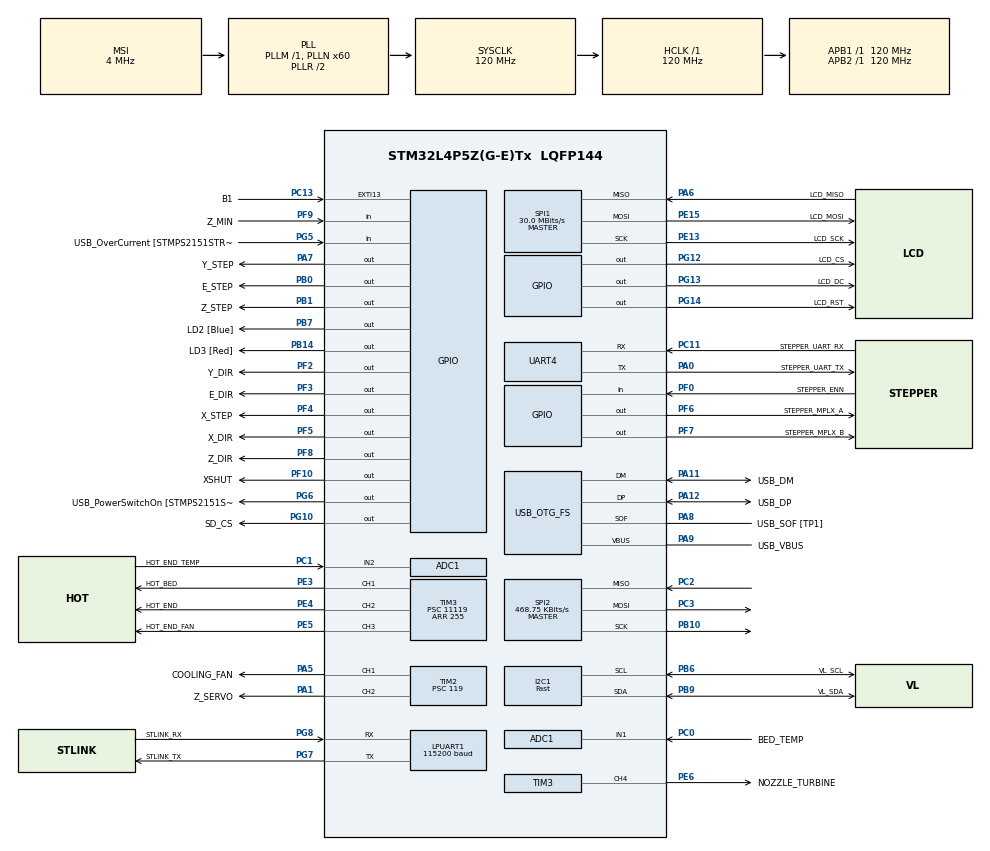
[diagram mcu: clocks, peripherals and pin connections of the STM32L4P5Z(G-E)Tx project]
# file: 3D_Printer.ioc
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ADC1.Channel-0\#ChannelRegularConversion=ADC_CHANNEL_1
ADC1.Channel-1\#ChannelRegularConversion=ADC_CHANNEL_2
ADC1.Channel-2\#ChannelRegularConversion=ADC_CHANNEL_TEMPSENSOR
ADC1.ContinuousConvMode=ENABLE
ADC1.DMAContinuousRequests=ENABLE
ADC1.NbrOfConversion=3
ADC1.NbrOfConversionFlag=1
ADC1.OffsetNumber-0\#ChannelRegularConversion=ADC_OFFSET_NONE
ADC1.OffsetNumber-1\#ChannelRegularConversion=ADC_OFFSET_NONE
ADC1.OffsetNumber-2\#ChannelRegularConversion=ADC_OFFSET_NONE
ADC1.OversamplingMode=ENABLE
ADC1.Rank-0\#ChannelRegularConversion=1
ADC1.Rank-1\#ChannelRegularConversion=2
ADC1.Rank-2\#ChannelRegularConversion=3
ADC1.Ratio=ADC_OVERSAMPLING_RATIO_16
ADC1.Resolution=ADC_RESOLUTION_12B
ADC1.SamplingTime-0\#ChannelRegularConversion=ADC_SAMPLETIME_640CYCLES_5
ADC1.SamplingTime-1\#ChannelRegularConversion=ADC_SAMPLETIME_640CYCLES_5
ADC1.SamplingTime-2\#ChannelRegularConversion=ADC_SAMPLETIME_640CYCLES_5
ADC1.master=1
Dma.ADC1.0.Direction=DMA_PERIPH_TO_MEMORY
Dma.ADC1.0.EventEnable=DISABLE
Dma.ADC1.0.Instance=DMA1_Channel1
Dma.ADC1.0.MemDataAlignment=DMA_MDATAALIGN_WORD
Dma.ADC1.0.MemInc=DMA_MINC_ENABLE
Dma.ADC1.0.Mode=DMA_CIRCULAR
Dma.ADC1.0.PeriphDataAlignment=DMA_PDATAALIGN_WORD
Dma.ADC1.0.PeriphInc=DMA_PINC_DISABLE
Dma.ADC1.0.Polarity=HAL_DMAMUX_REQ_GEN_RISING
Dma.ADC1.0.Priority=DMA_PRIORITY_LOW
Dma.ADC1.0.RequestNumber=1
Dma.ADC1.0.SignalID=NONE
Dma.ADC1.0.SyncEnable=DISABLE
Dma.ADC1.0.SyncPolarity=HAL_DMAMUX_SYNC_NO_EVENT
Dma.ADC1.0.SyncRequestNumber=1
Dma.ADC1.0.SyncSignalID=NONE
Dma.LPUART1_RX.1.Direction=DMA_PERIPH_TO_MEMORY
Dma.LPUART1_RX.1.EventEnable=DISABLE
Dma.LPUART1_RX.1.Instance=DMA1_Channel2
Dma.LPUART1_RX.1.MemDataAlignment=DMA_MDATAALIGN_BYTE
Dma.LPUART1_RX.1.MemInc=DMA_MINC_ENABLE
Dma.LPUART1_RX.1.Mode=DMA_NORMAL
Dma.LPUART1_RX.1.PeriphDataAlignment=DMA_PDATAALIGN_BYTE
Dma.LPUART1_RX.1.PeriphInc=DMA_PINC_DISABLE
Dma.LPUART1_RX.1.Polarity=HAL_DMAMUX_REQ_GEN_RISING
Dma.LPUART1_RX.1.Priority=DMA_PRIORITY_LOW
Dma.LPUART1_RX.1.RequestNumber=1
Dma.LPUART1_RX.1.SignalID=NONE
Dma.LPUART1_RX.1.SyncEnable=DISABLE
Dma.LPUART1_RX.1.SyncPolarity=HAL_DMAMUX_SYNC_NO_EVENT
Dma.LPUART1_RX.1.SyncRequestNumber=1
Dma.LPUART1_RX.1.SyncSignalID=NONE
Dma.Request0=ADC1
Dma.Request1=LPUART1_RX
I2C1.I2C_Speed_Mode=I2C_Fast
I2C1.Timing=0x00B03FDB
LPUART1.BaudRate=115200
LPUART1.OverrunDisableParam=UART_ADVFEATURE_OVERRUN_DISABLE
LPUART1.WordLength=UART_WORDLENGTH_8B
Mcu.Family=STM32L4
Mcu.Name=STM32L4P5Z(G-E)Tx
Mcu.Package=LQFP144
NVIC.DMA1_Channel1_IRQn=true\:0\:0\:false\:false\:true\:false\:true\:true
NVIC.DMA1_Channel2_IRQn=true\:0\:0\:false\:false\:true\:false\:true\:true
NVIC.LPUART1_IRQn=true\:0\:0\:false\:false\:true\:true\:true\:true
NVIC.PriorityGroup=NVIC_PRIORITYGROUP_4
PA0.GPIO_Label=STEPPER_UART_TX
PA0.Mode=Asynchronous
PA0.Signal=UART4_TX
PA1.GPIO_Label=Z_SERVO
PA1.Signal=S_TIM2_CH2
PA10.GPIO_Label=USB_ID
PA10.Signal=USB_OTG_FS_ID
PA11.GPIO_Label=USB_DM
PA11.Mode=Device_Only
PA11.Signal=USB_OTG_FS_DM
PA12.GPIO_Label=USB_DP
PA12.Mode=Device_Only
PA12.Signal=USB_OTG_FS_DP
PA13\ (JTMS/SWDIO).GPIO_Label=TMS
PA13\ (JTMS/SWDIO).Mode=Trace_Asynchronous_SW
PA13\ (JTMS/SWDIO).Signal=SYS_JTMS-SWDIO
PA14\ (JTCK/SWCLK).GPIO_Label=TCK
PA14\ (JTCK/SWCLK).Mode=Trace_Asynchronous_SW
PA14\ (JTCK/SWCLK).Signal=SYS_JTCK-SWCLK
PA5.GPIO_Label=COOLING_FAN
PA5.Signal=S_TIM2_CH1
PA6.GPIO_Label=LCD_MISO
PA6.Mode=Full_Duplex_Master
PA6.Signal=SPI1_MISO
PA7.GPIO_Label=Y_STEP
PA7.Signal=GPIO_Output
PA8.GPIO_Label=USB_SOF [TP1]
PA8.Mode=Activate_SOF_FS
PA8.Signal=USB_OTG_FS_SOF
PA9.GPIO_Label=USB_VBUS
PA9.Mode=Activate_VBUS
PA9.Signal=USB_OTG_FS_VBUS
PB0.GPIO_Label=E_STEP
PB0.Signal=GPIO_Output
PB1.GPIO_Label=Z_STEP
PB1.Signal=GPIO_Output
PB10.GPIO_Mode=GPIO_MODE_AF_PP
PB10.GPIO_PuPd=GPIO_NOPULL
PB10.GPIO_Speed=GPIO_SPEED_FREQ_VERY_HIGH
PB10.Mode=Full_Duplex_Master
PB10.Signal=SPI2_SCK
PB14.GPIO_Label=LD3 [Red]
PB14.Signal=GPIO_Output
PB3\ (JTDO/TRACESWO).GPIO_Label=SWO
PB3\ (JTDO/TRACESWO).Mode=Trace_Asynchronous_SW
PB3\ (JTDO/TRACESWO).Signal=SYS_JTDO-SWO
PB6.GPIO_Label=VL_SCL
PB6.Mode=I2C
PB6.Signal=I2C1_SCL
PB7.GPIO_Label=LD2 [Blue]
PB7.Signal=GPIO_Output
PB9.GPIO_Label=VL_SDA
PB9.Mode=I2C
PB9.Signal=I2C1_SDA
PC0.GPIO_Label=BED_TEMP
PC0.Signal=ADCx_IN1
PC1.GPIO_Label=HOT_END_TEMP
PC1.Signal=ADCx_IN2
PC11.GPIO_Label=STEPPER_UART_RX
PC11.Mode=Asynchronous
PC11.Signal=UART4_RX
PC13.GPIO_Label=B1
PC13.Signal=GPXTI13
PC14-OSC32_IN\ (PC14).Mode=LSE-External-Oscillator
PC14-OSC32_IN\ (PC14).Signal=RCC_OSC32_IN
PC15-OSC32_OUT\ (PC15).Mode=LSE-External-Oscillator
PC15-OSC32_OUT\ (PC15).Signal=RCC_OSC32_OUT
PC2.GPIO_Mode=GPIO_MODE_AF_PP
PC2.GPIO_PuPd=GPIO_NOPULL
PC2.GPIO_Speed=GPIO_SPEED_FREQ_VERY_HIGH
PC2.Mode=Full_Duplex_Master
PC2.Signal=SPI2_MISO
PC3.GPIO_Mode=GPIO_MODE_AF_PP
PC3.GPIO_PuPd=GPIO_NOPULL
PC3.GPIO_Speed=GPIO_SPEED_FREQ_VERY_HIGH
PC3.Mode=Full_Duplex_Master
PC3.Signal=SPI2_MOSI
PE13.GPIO_Label=LCD_SCK
PE13.Mode=Full_Duplex_Master
PE13.Signal=SPI1_SCK
PE15.GPIO_Label=LCD_MOSI
PE15.Mode=Full_Duplex_Master
PE15.Signal=SPI1_MOSI
PE3.GPIO_Label=HOT_BED
PE3.Signal=S_TIM3_CH1
PE4.GPIO_Label=HOT_END
PE4.Signal=S_TIM3_CH2
PE5.GPIO_Label=HOT_END_FAN
PE5.Signal=S_TIM3_CH3
PE6.GPIO_Label=NOZZLE_TURBINE
PE6.Signal=S_TIM3_CH4
PF0.GPIO_Label=STEPPER_ENN
PF0.Signal=GPIO_Input
PF10.GPIO_Label=XSHUT
PF10.Signal=GPIO_Output
PF2.GPIO_Label=Y_DIR
PF2.Signal=GPIO_Output
PF3.GPIO_Label=E_DIR
PF3.Signal=GPIO_Output
PF4.GPIO_Label=X_STEP
PF4.Signal=GPIO_Output
PF5.GPIO_Label=X_DIR
PF5.Signal=GPIO_Output
PF6.GPIO_Label=STEPPER_MPLX_A
PF6.Signal=GPIO_Output
PF7.GPIO_Label=STEPPER_MPLX_B
PF7.Signal=GPIO_Output
PF8.GPIO_Label=Z_DIR
PF8.Signal=GPIO_Output
PF9.GPIO_Label=Z_MIN
PF9.Signal=GPIO_Input
PG10.GPIO_Label=SD_CS
PG10.Signal=GPIO_Output
PG12.GPIO_Label=LCD_CS
PG12.GPIO_Speed=GPIO_SPEED_FREQ_VERY_HIGH
PG12.PinState=GPIO_PIN_RESET
PG12.Signal=GPIO_Output
PG13.GPIO_Label=LCD_DC
PG13.GPIO_Speed=GPIO_SPEED_FREQ_VERY_HIGH
PG13.Signal=GPIO_Output
PG14.GPIO_Label=LCD_RST
PG14.GPIO_Speed=GPIO_SPEED_FREQ_VERY_HIGH
PG14.Signal=GPIO_Output
PG5.GPIO_Label=USB_OverCurrent [STMPS2151STR_FAULT]
PG5.Signal=GPIO_Input
PG6.GPIO_Label=USB_PowerSwitchOn [STMPS2151STR_En]
PG6.Signal=GPIO_Output
PG7.GPIO_Label=STLINK_TX
PG7.Mode=Asynchronous
PG7.Signal=LPUART1_TX
PG8.GPIO_Label=STLINK_RX
PG8.Mode=Asynchronous
PG8.Signal=LPUART1_RX
PH0-OSC_IN\ (PH0).Mode=HSE-External-Oscillator
PH0-OSC_IN\ (PH0).Signal=RCC_OSC_IN
PH1-OSC_OUT\ (PH1).Mode=HSE-External-Oscillator
PH1-OSC_OUT\ (PH1).Signal=RCC_OSC_OUT
ProjectManager.HeapSize=0x200
ProjectManager.StackSize=0x400
ProjectManager.TargetToolchain=Makefile
RCC.48MHZClocksFreq_Value=24000000
RCC.ADCFreq_Value=48000000
RCC.AHBFreq_Value=120000000
RCC.APB1Freq_Value=120000000
RCC.APB1TimFreq_Value=120000000
RCC.APB2Freq_Value=120000000
RCC.APB2TimFreq_Value=120000000
RCC.CK48CLockSelection=RCC_USBCLKSOURCE_HSI48
RCC.CortexFreq_Value=120000000
RCC.HCLKFreq_Value=120000000
RCC.HSE_VALUE=6000000
RCC.HSI48_VALUE=48000000
RCC.HSI_VALUE=16000000
RCC.LtdcClockSelection=RCC_LTDCCLKSOURCE_PLLSAI2_DIV4
RCC.MSI_VALUE=4000000
RCC.PLLMUL=RCC_PLL_MUL9
RCC.PLLN=60
RCC.PLLSAI1N=24
RCC.PLLSAI1Q=RCC_PLLQ_DIV4
RCC.PLLSAI2N=16
RCC.PRESCALERUSB=RCC_USBCLKSOURCE_PLL_DIV1_5
RCC.SYSCLKFreq_VALUE=120000000
RCC.SYSCLKSource=RCC_SYSCLKSOURCE_PLLCLK
RCC.SYSCLKSourceVirtual=RCC_SYSCLKSOURCE_PLLCLK
RCC.USBFreq_Value=48000000
RCC.VCOOutputFreq_Value=240000000
SH.ADCx_IN1.0=ADC1_IN1,IN1-Single-Ended
SH.ADCx_IN2.0=ADC1_IN2,IN2-Single-Ended
SH.S_TIM2_CH1.0=TIM2_CH1,PWM Generation1 CH1
SH.S_TIM2_CH2.0=TIM2_CH2,PWM Generation2 CH2
SH.S_TIM3_CH1.0=TIM3_CH1,PWM Generation1 CH1
SH.S_TIM3_CH2.0=TIM3_CH2,PWM Generation2 CH2
SH.S_TIM3_CH3.0=TIM3_CH3,PWM Generation3 CH3
SH.S_TIM3_CH4.0=TIM3_CH4,PWM Generation4 CH4
SPI1.BaudRatePrescaler=SPI_BAUDRATEPRESCALER_4
SPI1.CRCCalculation=SPI_CRCCALCULATION_DISABLE
SPI1.CalculateBaudRate=30.0 MBits/s
SPI1.DataSize=SPI_DATASIZE_8BIT
SPI1.Direction=SPI_DIRECTION_2LINES
SPI1.Mode=SPI_MODE_MASTER
SPI1.VirtualType=VM_MASTER
SPI2.BaudRatePrescaler=SPI_BAUDRATEPRESCALER_256
SPI2.CalculateBaudRate=468.75 KBits/s
SPI2.DataSize=SPI_DATASIZE_8BIT
SPI2.Direction=SPI_DIRECTION_2LINES
SPI2.Mode=SPI_MODE_MASTER
SPI2.VirtualType=VM_MASTER
TIM2.Channel-PWM\ Generation1\ CH1=TIM_CHANNEL_1
TIM2.Channel-PWM\ Generation2\ CH2=TIM_CHANNEL_2
TIM2.Period=255
TIM2.Prescaler=119
TIM3.AutoReloadPreload=TIM_AUTORELOAD_PRELOAD_ENABLE
TIM3.Channel-PWM\ Generation1\ CH1=TIM_CHANNEL_1
TIM3.Channel-PWM\ Generation2\ CH2=TIM_CHANNEL_2
TIM3.Channel-PWM\ Generation3\ CH3=TIM_CHANNEL_3
TIM3.Channel-PWM\ Generation4\ CH4=TIM_CHANNEL_4
TIM3.Period=255
TIM3.Prescaler=11119
TIM4.Prescaler=119
TIM5.Prescaler=119
USB_OTG_FS.VirtualMode=Device_Only
VP_ADC1_TempSens_Input.Mode=IN-TempSens
VP_FATFS_VS_Generic.Mode=User_defined
VP_RNG_VS_RNG.Mode=RNG_Activate
VP_TIM2_VS_ClockSourceINT.Mode=Internal
VP_TIM3_VS_ClockSourceINT.Mode=Internal
VP_TIM4_VS_ClockSourceINT.Mode=Internal
VP_TIM5_VS_ClockSourceINT.Mode=Internal
board=NUCLEO-L4P5ZG

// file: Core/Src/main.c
/* USER CODE BEGIN Header */
/**
 ******************************************************************************
 * @file           : main.c
 * @brief          : Main program body
 ******************************************************************************
 * @attention
 *
 * Copyright (c) 2022 STMicroelectronics.
 * All rights reserved.
 *
 * This software is licensed under terms that can be found in the LICENSE file
 * in the root directory of this software component.
 * If no LICENSE file comes with this software, it is provided AS-IS.
 *
 ******************************************************************************
 */
/* USER CODE END Header */
#include "main.h"
#include "fatfs.h"

/* USER CODE BEGIN Includes */
#include "Functions.h"
#include <stdio.h>
#include <string.h>
#include <ctype.h>
#include "ILI9341_STM32_Driver.h"
#include "ILI9341_GFX.h"
#include "5x5_font.h"
#include "vl53l0x_api.h"
#include "fatfs.h"
#include <stdarg.h>
// #include "Parser.h"
/* USER CODE END Includes */

ADC_HandleTypeDef hadc1;
DMA_HandleTypeDef hdma_adc1;

I2C_HandleTypeDef hi2c1;

UART_HandleTypeDef hlpuart1;
UART_HandleTypeDef huart4;
DMA_HandleTypeDef hdma_lpuart1_rx;

RNG_HandleTypeDef hrng;

SPI_HandleTypeDef hspi1;
SPI_HandleTypeDef hspi2;

TIM_HandleTypeDef htim2;
TIM_HandleTypeDef htim3;
TIM_HandleTypeDef htim4;
TIM_HandleTypeDef htim5;

PCD_HandleTypeDef hpcd_USB_OTG_FS;

/* USER CODE BEGIN PV */
uint32_t value[ADC_CHANNELS];

/// @brief Distance sensor
VL53L0X_RangingMeasurementData_t RangingData;
VL53L0X_Dev_t vl53l0x_c; // center module
VL53L0X_DEV Dev = &vl53l0x_c;
///

/* USER CODE END PV */

void SystemClock_Config(void);
static void MX_GPIO_Init(void);
static void MX_DMA_Init(void);
static void MX_LPUART1_UART_Init(void);
static void MX_USB_OTG_FS_PCD_Init(void);
static void MX_TIM4_Init(void);
static void MX_UART4_Init(void);
static void MX_TIM3_Init(void);
static void MX_ADC1_Init(void);
static void MX_TIM5_Init(void);
static void MX_TIM2_Init(void);
static void MX_SPI1_Init(void);
static void MX_RNG_Init(void);
static void MX_I2C1_Init(void);
static void MX_SPI2_Init(void);

/* USER CODE BEGIN 0 */

void myprintf(const char *fmt, ...)
{
  static char buffer[256];
  va_list args;
  va_start(args, fmt);
  vsnprintf(buffer, sizeof(buffer), fmt, args);
  va_end(args);

  int len = strlen(buffer);
  HAL_UART_Transmit(&hlpuart1, (uint16_t *)buffer, len, HAL_MAX_DELAY);
}

void HAL_UARTEx_RxEventCallback(UART_HandleTypeDef *huart, uint16_t Size)
{
  if (huart->Instance == LPUART1)
  {
    HAL_UARTEx_ReceiveToIdle_DMA(&hlpuart1, (uint8_t *)RxBuf, RxBuf_SIZE);
    __HAL_DMA_DISABLE_IT(&hdma_lpuart1_rx, DMA_IT_HT);
  }
}

void DelayMicrosecond(uint16_t time)
{
  __HAL_TIM_SET_COUNTER(&htim4, 0);
  while (__HAL_TIM_GET_COUNTER(&htim4) < time)
    ;
}

int GetTicks()
{
  return __HAL_TIM_GET_COUNTER(&htim5);
}

void SPI_Transmit(uint8_t *pData, uint16_t Size, uint32_t Timeout)
{
  HAL_SPI_Transmit(&hspi1, &pData, Size, Timeout);
}
/* USER CODE END 0 */

int main(void)
{
  /* USER CODE BEGIN 1 */
  //
  // VL53L0X initialisation stuff
  //
  uint32_t refSpadCount;
  uint8_t isApertureSpads;
  uint8_t VhvSettings;
  uint8_t PhaseCal;
  /* USER CODE END 1 */

  /* MCU Configuration--------------------------------------------------------*/

  /* Reset of all peripherals, Initializes the Flash interface and the Systick. */
  HAL_Init();

  /* Configure the system clock */
  SystemClock_Config();

  /* Initialize all configured peripherals */
  MX_GPIO_Init();
  MX_DMA_Init();
  MX_LPUART1_UART_Init();
  MX_USB_OTG_FS_PCD_Init();
  MX_TIM4_Init();
  MX_UART4_Init();
  MX_TIM3_Init();
  MX_ADC1_Init();
  MX_TIM5_Init();
  MX_TIM2_Init();
  MX_SPI1_Init();
  MX_RNG_Init();
  MX_I2C1_Init();
  MX_SPI2_Init();
  MX_FATFS_Init();
  /* USER CODE BEGIN 2 */
  HAL_TIM_PWM_Start(&htim3, TIM_CHANNEL_1);
  HAL_TIM_PWM_Start(&htim3, TIM_CHANNEL_2);
  HAL_TIM_PWM_Start(&htim3, TIM_CHANNEL_3);
  HAL_ADC_Start_DMA(&hadc1, value, ADC_CHANNELS);
  HAL_TIM_Base_Start(&htim4);
  HAL_TIM_Base_Start(&htim5);
  HAL_UARTEx_ReceiveToIdle_DMA(&hlpuart1, RxBuf, RxBuf_SIZE);
  __HAL_DMA_DISABLE_IT(&hdma_lpuart1_rx, DMA_IT_HT);
  memset(&RxBuf[0], 0, sizeof(RxBuf));
  reset_args();
  int steps = 0;
  bool started = false;
  uint32_t lasttimeX = 0;
  uint32_t lasttimeY = 0;
  ILI9341_Init();
  //
  // Distance sensor
  //

  Dev->I2cHandle = &hi2c1;
  Dev->I2cDevAddr = 0x52;

  HAL_GPIO_WritePin(GPIOF, GPIO_PIN_10, GPIO_PIN_RESET); // Disable XSHUT
  HAL_Delay(20);
  HAL_GPIO_WritePin(GPIOF, GPIO_PIN_10, GPIO_PIN_SET); // Enable XSHUT
  HAL_Delay(20);

  //
  // VL53L0X init for Single Measurement
  //

  VL53L0X_WaitDeviceBooted(Dev);
  VL53L0X_DataInit(Dev);
  VL53L0X_StaticInit(Dev);
  VL53L0X_PerformRefCalibration(Dev, &VhvSettings, &PhaseCal);
  VL53L0X_PerformRefSpadManagement(Dev, &refSpadCount, &isApertureSpads);
  VL53L0X_SetDeviceMode(Dev, VL53L0X_DEVICEMODE_SINGLE_RANGING);

  // Enable/Disable Sigma and Signal check
  VL53L0X_SetLimitCheckEnable(Dev, VL53L0X_CHECKENABLE_SIGMA_FINAL_RANGE, 1);
  VL53L0X_SetLimitCheckEnable(Dev, VL53L0X_CHECKENABLE_SIGNAL_RATE_FINAL_RANGE, 1);
  VL53L0X_SetLimitCheckValue(Dev, VL53L0X_CHECKENABLE_SIGNAL_RATE_FINAL_RANGE, (FixPoint1616_t)(0.1 * 65536));
  VL53L0X_SetLimitCheckValue(Dev, VL53L0X_CHECKENABLE_SIGMA_FINAL_RANGE, (FixPoint1616_t)(60 * 65536));
  VL53L0X_SetMeasurementTimingBudgetMicroSeconds(Dev, 2000000);
  VL53L0X_SetVcselPulsePeriod(Dev, VL53L0X_VCSEL_PERIOD_PRE_RANGE, 18);
  VL53L0X_SetVcselPulsePeriod(Dev, VL53L0X_VCSEL_PERIOD_FINAL_RANGE, 14);

  // HAL_Delay(1000);
  // FATFS FatFs;  // Fatfs handle
  // FIL fil;      // File handle
  // FRESULT fres; // Result after operations

  // fres = f_mount(&FatFs, "", 1); // 1=mount now
  // // HAL_Delay(1000);
  // while (fres != FR_OK)
  // {
  //   myprintf("f_mount error (%i)\r\n", fres);
  //   HAL_Delay(500);
  //   fres = f_mount(&FatFs, "", 1); // 1=mount now
  // }

  // DWORD free_clusters, free_sectors, total_sectors;

  // FATFS *getFreeFs;

  // fres = f_getfree("", &free_clusters, &getFreeFs);
  // while (fres != FR_OK)
  // {
  //   myprintf("f_getfree error (%i)\r\n", fres);
  //   HAL_Delay(500);
  //   fres = f_getfree("", &free_clusters, &getFreeFs);
  // }
  // total_sectors = (getFreeFs->n_fatent - 2) * getFreeFs->csize;
  // free_sectors = free_clusters * getFreeFs->csize;
  // myprintf("SD card stats:\r\n%10lu KiB total drive space.\r\n%10lu KiB available.\r\n", total_sectors / 2, free_sectors / 2);
  // fres = f_open(&fil, "AA8_cube.txt", FA_READ);
  // while (fres != FR_OK)
  // {
  //   myprintf("f_open error (%i)\r\n");
  //   HAL_Delay(500);
  //   fres = f_open(&fil, "AA8_cube.txt", FA_READ);
  // }
  // myprintf("I was able to open 'AA8_cube.txt' for reading!\r\n");
  int t = 0;
  /* USER CODE END 2 */

  /* Infinite loop */
  /* USER CODE BEGIN WHILE */
  while (1)
  {
    // ILI9341_Set_Address(0,0,320,240);
    // ILI9341_Draw_Colour_Burst(MAGENTA, 320*240);
    // ILI9341_Set_Rotation(SCREEN_HORIZONTAL_2);
    // ILI9341_Fill_Screen(WHITE);
    // VL53L0X_PerformSingleRangingMeasurement(Dev, &RangingData);
    if (RxBuf[0] != 0 && isRunning == false)
    {
      get_command(RxBuf);
      memset(&RxBuf[0], 0, sizeof(RxBuf));
    }
    // if(RangingData.RangeStatus == 0)
    // {
    //   sprintf((char*)msg_buffer, "Measured distance: %i\n\r", RangingData.RangeMilliMeter);
    //   HAL_UART_Transmit(&hlpuart1, (uint16_t *)msg_buffer, strlen(msg_buffer), 100);
    // }
    // ILI9341_Draw_Text("KURWA", 10, 10, BLACK, 4, WHITE);
    // ILI9341_Draw_Filled_Rectangle_Coord(0, 100, 200, 130, BLACK);
    // if (isRunning == false && started == true)
    // {
    //   isRunning = true;
    //   BYTE readBuf[40];
    //   TCHAR *rres = f_gets((TCHAR *)readBuf, 40, &fil);
    //   if (rres != 0)
    //   {
    //     myprintf("%s", readBuf);
    //     get_command(readBuf);
    //   }
    // }

    // HAL_Delay(400);

    if (READ_PIN(X_STOP_PIN) != 1 && READ_PIN(Y_STOP_PIN) != 1)
    {
      G0();
    }

    // M104();
    // M140();
    // if(t >= 1000)
    // {
    //   myprintf("T: %.2f R: %.2f B: %.2f\r\n", GetTemperature(ADC_HOT_END, value[ADC_HOT_END]), GetTemperature(6, value[ADC_HOT_END]), GetTemperature(ADC_BED, value[ADC_BED]));
    //   t = 0;
    // }else t++;
    // MAKE_MOTOR_STEP(X_AXIS_STEP);
    // MAKE_MOTOR_STEP(Y_AXIS_STEP);
    WRITE_PIN(X_AXIS_STEP, 0);
    WRITE_PIN(Y_AXIS_STEP, 0);
    WRITE_PIN(X_AXIS_STEP, 1);
    WRITE_PIN(Y_AXIS_STEP, 1);
    DelayMicrosecond(500);
    if (READ_PIN(USER_BUTTON) == 1)
    {
      started = true;
      myprintf("Cur X: %f, Des X: %f, Cur Y: %f, Des Y: %f, isRunning?: %d\r\n", Cur_X, X, Cur_Y, Y, isRunning);
    }
    /* USER CODE END WHILE */

    /* USER CODE BEGIN 3 */
  }
  // f_close(&fil);
  /* USER CODE END 3 */
}

void SystemClock_Config(void)
{
  RCC_OscInitTypeDef RCC_OscInitStruct = {0};
  RCC_ClkInitTypeDef RCC_ClkInitStruct = {0};

  /** Configure the main internal regulator output voltage
  */
  if (HAL_PWREx_ControlVoltageScaling(PWR_REGULATOR_VOLTAGE_SCALE1_BOOST) != HAL_OK)
  {
    Error_Handler();
  }

  /** Initializes the RCC Oscillators according to the specified parameters
  * in the RCC_OscInitTypeDef structure.
  */
  RCC_OscInitStruct.OscillatorType = RCC_OSCILLATORTYPE_HSI48|RCC_OSCILLATORTYPE_MSI;
  RCC_OscInitStruct.HSI48State = RCC_HSI48_ON;
  RCC_OscInitStruct.MSIState = RCC_MSI_ON;
  RCC_OscInitStruct.MSICalibrationValue = 0;
  RCC_OscInitStruct.MSIClockRange = RCC_MSIRANGE_6;
  RCC_OscInitStruct.PLL.PLLState = RCC_PLL_ON;
  RCC_OscInitStruct.PLL.PLLSource = RCC_PLLSOURCE_MSI;
  RCC_OscInitStruct.PLL.PLLM = 1;
  RCC_OscInitStruct.PLL.PLLN = 60;
  RCC_OscInitStruct.PLL.PLLP = RCC_PLLP_DIV2;
  RCC_OscInitStruct.PLL.PLLQ = RCC_PLLQ_DIV2;
  RCC_OscInitStruct.PLL.PLLR = RCC_PLLR_DIV2;
  if (HAL_RCC_OscConfig(&RCC_OscInitStruct) != HAL_OK)
  {
    Error_Handler();
  }

  /** Initializes the CPU, AHB and APB buses clocks
  */
  RCC_ClkInitStruct.ClockType = RCC_CLOCKTYPE_HCLK|RCC_CLOCKTYPE_SYSCLK
                              |RCC_CLOCKTYPE_PCLK1|RCC_CLOCKTYPE_PCLK2;
  RCC_ClkInitStruct.SYSCLKSource = RCC_SYSCLKSOURCE_PLLCLK;
  RCC_ClkInitStruct.AHBCLKDivider = RCC_SYSCLK_DIV1;
  RCC_ClkInitStruct.APB1CLKDivider = RCC_HCLK_DIV1;
  RCC_ClkInitStruct.APB2CLKDivider = RCC_HCLK_DIV1;

  if (HAL_RCC_ClockConfig(&RCC_ClkInitStruct, FLASH_LATENCY_5) != HAL_OK)
  {
    Error_Handler();
  }
}

static void MX_ADC1_Init(void)
{

  ADC_MultiModeTypeDef multimode = {0};
  ADC_ChannelConfTypeDef sConfig = {0};

  /** Common config
  */
  hadc1.Instance = ADC1;
  hadc1.Init.ClockPrescaler = ADC_CLOCK_ASYNC_DIV1;
  hadc1.Init.Resolution = ADC_RESOLUTION_12B;
  hadc1.Init.DataAlign = ADC_DATAALIGN_RIGHT;
  hadc1.Init.ScanConvMode = ADC_SCAN_ENABLE;
  hadc1.Init.EOCSelection = ADC_EOC_SINGLE_CONV;
  hadc1.Init.LowPowerAutoWait = DISABLE;
  hadc1.Init.ContinuousConvMode = ENABLE;
  hadc1.Init.NbrOfConversion = 3;
  hadc1.Init.DiscontinuousConvMode = DISABLE;
  hadc1.Init.ExternalTrigConv = ADC_SOFTWARE_START;
  hadc1.Init.ExternalTrigConvEdge = ADC_EXTERNALTRIGCONVEDGE_NONE;
  hadc1.Init.DMAContinuousRequests = ENABLE;
  hadc1.Init.Overrun = ADC_OVR_DATA_PRESERVED;
  hadc1.Init.OversamplingMode = ENABLE;
  hadc1.Init.Oversampling.Ratio = ADC_OVERSAMPLING_RATIO_16;
  hadc1.Init.Oversampling.RightBitShift = ADC_RIGHTBITSHIFT_NONE;
  hadc1.Init.Oversampling.TriggeredMode = ADC_TRIGGEREDMODE_SINGLE_TRIGGER;
  hadc1.Init.Oversampling.OversamplingStopReset = ADC_REGOVERSAMPLING_CONTINUED_MODE;
  if (HAL_ADC_Init(&hadc1) != HAL_OK)
  {
    Error_Handler();
  }

  /** Configure the ADC multi-mode
  */
  multimode.Mode = ADC_MODE_INDEPENDENT;
  if (HAL_ADCEx_MultiModeConfigChannel(&hadc1, &multimode) != HAL_OK)
  {
    Error_Handler();
  }

  /** Configure Regular Channel
  */
  sConfig.Channel = ADC_CHANNEL_1;
  sConfig.Rank = ADC_REGULAR_RANK_1;
  sConfig.SamplingTime = ADC_SAMPLETIME_640CYCLES_5;
  sConfig.SingleDiff = ADC_SINGLE_ENDED;
  sConfig.OffsetNumber = ADC_OFFSET_NONE;
  sConfig.Offset = 0;
  if (HAL_ADC_ConfigChannel(&hadc1, &sConfig) != HAL_OK)
  {
    Error_Handler();
  }

  /** Configure Regular Channel
  */
  sConfig.Channel = ADC_CHANNEL_2;
  sConfig.Rank = ADC_REGULAR_RANK_2;
  if (HAL_ADC_ConfigChannel(&hadc1, &sConfig) != HAL_OK)
  {
    Error_Handler();
  }

  /** Configure Regular Channel
  */
  sConfig.Channel = ADC_CHANNEL_TEMPSENSOR;
  sConfig.Rank = ADC_REGULAR_RANK_3;
  if (HAL_ADC_ConfigChannel(&hadc1, &sConfig) != HAL_OK)
  {
    Error_Handler();
  }

}

static void MX_I2C1_Init(void)
{

  hi2c1.Instance = I2C1;
  hi2c1.Init.Timing = 0x00B03FDB;
  hi2c1.Init.OwnAddress1 = 0;
  hi2c1.Init.AddressingMode = I2C_ADDRESSINGMODE_7BIT;
  hi2c1.Init.DualAddressMode = I2C_DUALADDRESS_DISABLE;
  hi2c1.Init.OwnAddress2 = 0;
  hi2c1.Init.OwnAddress2Masks = I2C_OA2_NOMASK;
  hi2c1.Init.GeneralCallMode = I2C_GENERALCALL_DISABLE;
  hi2c1.Init.NoStretchMode = I2C_NOSTRETCH_DISABLE;
  if (HAL_I2C_Init(&hi2c1) != HAL_OK)
  {
    Error_Handler();
  }

  /** Configure Analogue filter
  */
  if (HAL_I2CEx_ConfigAnalogFilter(&hi2c1, I2C_ANALOGFILTER_ENABLE) != HAL_OK)
  {
    Error_Handler();
  }

  /** Configure Digital filter
  */
  if (HAL_I2CEx_ConfigDigitalFilter(&hi2c1, 0) != HAL_OK)
  {
    Error_Handler();
  }

}

static void MX_LPUART1_UART_Init(void)
{

  hlpuart1.Instance = LPUART1;
  hlpuart1.Init.BaudRate = 115200;
  hlpuart1.Init.WordLength = UART_WORDLENGTH_8B;
  hlpuart1.Init.StopBits = UART_STOPBITS_1;
  hlpuart1.Init.Parity = UART_PARITY_NONE;
  hlpuart1.Init.Mode = UART_MODE_TX_RX;
  hlpuart1.Init.HwFlowCtl = UART_HWCONTROL_NONE;
  hlpuart1.Init.OneBitSampling = UART_ONE_BIT_SAMPLE_DISABLE;
  hlpuart1.Init.ClockPrescaler = UART_PRESCALER_DIV1;
  hlpuart1.AdvancedInit.AdvFeatureInit = UART_ADVFEATURE_RXOVERRUNDISABLE_INIT;
  hlpuart1.AdvancedInit.OverrunDisable = UART_ADVFEATURE_OVERRUN_DISABLE;
  hlpuart1.FifoMode = UART_FIFOMODE_DISABLE;
  if (HAL_UART_Init(&hlpuart1) != HAL_OK)
  {
    Error_Handler();
  }
  if (HAL_UARTEx_SetTxFifoThreshold(&hlpuart1, UART_TXFIFO_THRESHOLD_1_8) != HAL_OK)
  {
    Error_Handler();
  }
  if (HAL_UARTEx_SetRxFifoThreshold(&hlpuart1, UART_RXFIFO_THRESHOLD_1_8) != HAL_OK)
  {
    Error_Handler();
  }
  if (HAL_UARTEx_DisableFifoMode(&hlpuart1) != HAL_OK)
  {
    Error_Handler();
  }

}

static void MX_UART4_Init(void)
{

  huart4.Instance = UART4;
  huart4.Init.BaudRate = 115200;
  huart4.Init.WordLength = UART_WORDLENGTH_8B;
  huart4.Init.StopBits = UART_STOPBITS_1;
  huart4.Init.Parity = UART_PARITY_NONE;
  huart4.Init.Mode = UART_MODE_TX_RX;
  huart4.Init.HwFlowCtl = UART_HWCONTROL_NONE;
  huart4.Init.OverSampling = UART_OVERSAMPLING_16;
  huart4.Init.OneBitSampling = UART_ONE_BIT_SAMPLE_DISABLE;
  huart4.Init.ClockPrescaler = UART_PRESCALER_DIV1;
  huart4.AdvancedInit.AdvFeatureInit = UART_ADVFEATURE_NO_INIT;
  if (HAL_UART_Init(&huart4) != HAL_OK)
  {
    Error_Handler();
  }
  if (HAL_UARTEx_SetTxFifoThreshold(&huart4, UART_TXFIFO_THRESHOLD_1_8) != HAL_OK)
  {
    Error_Handler();
  }
  if (HAL_UARTEx_SetRxFifoThreshold(&huart4, UART_RXFIFO_THRESHOLD_1_8) != HAL_OK)
  {
    Error_Handler();
  }
  if (HAL_UARTEx_DisableFifoMode(&huart4) != HAL_OK)
  {
    Error_Handler();
  }

}

static void MX_RNG_Init(void)
{

  hrng.Instance = RNG;
  hrng.Init.ClockErrorDetection = RNG_CED_ENABLE;
  if (HAL_RNG_Init(&hrng) != HAL_OK)
  {
    Error_Handler();
  }

}

static void MX_SPI1_Init(void)
{

  /* SPI1 parameter configuration*/
  hspi1.Instance = SPI1;
  hspi1.Init.Mode = SPI_MODE_MASTER;
  hspi1.Init.Direction = SPI_DIRECTION_2LINES;
  hspi1.Init.DataSize = SPI_DATASIZE_8BIT;
  hspi1.Init.CLKPolarity = SPI_POLARITY_LOW;
  hspi1.Init.CLKPhase = SPI_PHASE_1EDGE;
  hspi1.Init.NSS = SPI_NSS_SOFT;
  hspi1.Init.BaudRatePrescaler = SPI_BAUDRATEPRESCALER_4;
  hspi1.Init.FirstBit = SPI_FIRSTBIT_MSB;
  hspi1.Init.TIMode = SPI_TIMODE_DISABLE;
  hspi1.Init.CRCCalculation = SPI_CRCCALCULATION_DISABLE;
  hspi1.Init.CRCPolynomial = 7;
  hspi1.Init.CRCLength = SPI_CRC_LENGTH_DATASIZE;
  hspi1.Init.NSSPMode = SPI_NSS_PULSE_ENABLE;
  if (HAL_SPI_Init(&hspi1) != HAL_OK)
  {
    Error_Handler();
  }

}

static void MX_SPI2_Init(void)
{

  /* SPI2 parameter configuration*/
  hspi2.Instance = SPI2;
  hspi2.Init.Mode = SPI_MODE_MASTER;
  hspi2.Init.Direction = SPI_DIRECTION_2LINES;
  hspi2.Init.DataSize = SPI_DATASIZE_8BIT;
  hspi2.Init.CLKPolarity = SPI_POLARITY_LOW;
  hspi2.Init.CLKPhase = SPI_PHASE_1EDGE;
  hspi2.Init.NSS = SPI_NSS_SOFT;
  hspi2.Init.BaudRatePrescaler = SPI_BAUDRATEPRESCALER_256;
  hspi2.Init.FirstBit = SPI_FIRSTBIT_MSB;
  hspi2.Init.TIMode = SPI_TIMODE_DISABLE;
  hspi2.Init.CRCCalculation = SPI_CRCCALCULATION_DISABLE;
  hspi2.Init.CRCPolynomial = 7;
  hspi2.Init.CRCLength = SPI_CRC_LENGTH_DATASIZE;
  hspi2.Init.NSSPMode = SPI_NSS_PULSE_ENABLE;
  if (HAL_SPI_Init(&hspi2) != HAL_OK)
  {
    Error_Handler();
  }

}

static void MX_TIM2_Init(void)
{

  TIM_ClockConfigTypeDef sClockSourceConfig = {0};
  TIM_MasterConfigTypeDef sMasterConfig = {0};
  TIM_OC_InitTypeDef sConfigOC = {0};

  htim2.Instance = TIM2;
  htim2.Init.Prescaler = 119;
  htim2.Init.CounterMode = TIM_COUNTERMODE_UP;
  htim2.Init.Period = 255;
  htim2.Init.ClockDivision = TIM_CLOCKDIVISION_DIV1;
  htim2.Init.AutoReloadPreload = TIM_AUTORELOAD_PRELOAD_DISABLE;
  if (HAL_TIM_Base_Init(&htim2) != HAL_OK)
  {
    Error_Handler();
  }
  sClockSourceConfig.ClockSource = TIM_CLOCKSOURCE_INTERNAL;
  if (HAL_TIM_ConfigClockSource(&htim2, &sClockSourceConfig) != HAL_OK)
  {
    Error_Handler();
  }
  if (HAL_TIM_PWM_Init(&htim2) != HAL_OK)
  {
    Error_Handler();
  }
  sMasterConfig.MasterOutputTrigger = TIM_TRGO_RESET;
  sMasterConfig.MasterSlaveMode = TIM_MASTERSLAVEMODE_DISABLE;
  if (HAL_TIMEx_MasterConfigSynchronization(&htim2, &sMasterConfig) != HAL_OK)
  {
    Error_Handler();
  }
  sConfigOC.OCMode = TIM_OCMODE_PWM1;
  sConfigOC.Pulse = 0;
  sConfigOC.OCPolarity = TIM_OCPOLARITY_HIGH;
  sConfigOC.OCFastMode = TIM_OCFAST_DISABLE;
  if (HAL_TIM_PWM_ConfigChannel(&htim2, &sConfigOC, TIM_CHANNEL_1) != HAL_OK)
  {
    Error_Handler();
  }
  if (HAL_TIM_PWM_ConfigChannel(&htim2, &sConfigOC, TIM_CHANNEL_2) != HAL_OK)
  {
    Error_Handler();
  }
  HAL_TIM_MspPostInit(&htim2);

}

static void MX_TIM3_Init(void)
{

  TIM_ClockConfigTypeDef sClockSourceConfig = {0};
  TIM_MasterConfigTypeDef sMasterConfig = {0};
  TIM_OC_InitTypeDef sConfigOC = {0};

  htim3.Instance = TIM3;
  htim3.Init.Prescaler = 11119;
  htim3.Init.CounterMode = TIM_COUNTERMODE_UP;
  htim3.Init.Period = 255;
  htim3.Init.ClockDivision = TIM_CLOCKDIVISION_DIV1;
  htim3.Init.AutoReloadPreload = TIM_AUTORELOAD_PRELOAD_ENABLE;
  if (HAL_TIM_Base_Init(&htim3) != HAL_OK)
  {
    Error_Handler();
  }
  sClockSourceConfig.ClockSource = TIM_CLOCKSOURCE_INTERNAL;
  if (HAL_TIM_ConfigClockSource(&htim3, &sClockSourceConfig) != HAL_OK)
  {
    Error_Handler();
  }
  if (HAL_TIM_PWM_Init(&htim3) != HAL_OK)
  {
    Error_Handler();
  }
  sMasterConfig.MasterOutputTrigger = TIM_TRGO_RESET;
  sMasterConfig.MasterSlaveMode = TIM_MASTERSLAVEMODE_DISABLE;
  if (HAL_TIMEx_MasterConfigSynchronization(&htim3, &sMasterConfig) != HAL_OK)
  {
    Error_Handler();
  }
  sConfigOC.OCMode = TIM_OCMODE_PWM1;
  sConfigOC.Pulse = 0;
  sConfigOC.OCPolarity = TIM_OCPOLARITY_HIGH;
  sConfigOC.OCFastMode = TIM_OCFAST_DISABLE;
  if (HAL_TIM_PWM_ConfigChannel(&htim3, &sConfigOC, TIM_CHANNEL_1) != HAL_OK)
  {
    Error_Handler();
  }
  if (HAL_TIM_PWM_ConfigChannel(&htim3, &sConfigOC, TIM_CHANNEL_2) != HAL_OK)
  {
    Error_Handler();
  }
  if (HAL_TIM_PWM_ConfigChannel(&htim3, &sConfigOC, TIM_CHANNEL_3) != HAL_OK)
  {
    Error_Handler();
  }
  if (HAL_TIM_PWM_ConfigChannel(&htim3, &sConfigOC, TIM_CHANNEL_4) != HAL_OK)
  {
    Error_Handler();
  }
  HAL_TIM_MspPostInit(&htim3);

}

static void MX_TIM4_Init(void)
{

  TIM_ClockConfigTypeDef sClockSourceConfig = {0};
  TIM_MasterConfigTypeDef sMasterConfig = {0};

  htim4.Instance = TIM4;
  htim4.Init.Prescaler = 119;
  htim4.Init.CounterMode = TIM_COUNTERMODE_UP;
  htim4.Init.Period = 65535;
  htim4.Init.ClockDivision = TIM_CLOCKDIVISION_DIV1;
  htim4.Init.AutoReloadPreload = TIM_AUTORELOAD_PRELOAD_DISABLE;
  if (HAL_TIM_Base_Init(&htim4) != HAL_OK)
  {
    Error_Handler();
  }
  sClockSourceConfig.ClockSource = TIM_CLOCKSOURCE_INTERNAL;
  if (HAL_TIM_ConfigClockSource(&htim4, &sClockSourceConfig) != HAL_OK)
  {
    Error_Handler();
  }
  sMasterConfig.MasterOutputTrigger = TIM_TRGO_RESET;
  sMasterConfig.MasterSlaveMode = TIM_MASTERSLAVEMODE_DISABLE;
  if (HAL_TIMEx_MasterConfigSynchronization(&htim4, &sMasterConfig) != HAL_OK)
  {
    Error_Handler();
  }

}

static void MX_TIM5_Init(void)
{

  TIM_ClockConfigTypeDef sClockSourceConfig = {0};
  TIM_MasterConfigTypeDef sMasterConfig = {0};

  htim5.Instance = TIM5;
  htim5.Init.Prescaler = 119;
  htim5.Init.CounterMode = TIM_COUNTERMODE_UP;
  htim5.Init.Period = 4294967295;
  htim5.Init.ClockDivision = TIM_CLOCKDIVISION_DIV1;
  htim5.Init.AutoReloadPreload = TIM_AUTORELOAD_PRELOAD_DISABLE;
  if (HAL_TIM_Base_Init(&htim5) != HAL_OK)
  {
    Error_Handler();
  }
  sClockSourceConfig.ClockSource = TIM_CLOCKSOURCE_INTERNAL;
  if (HAL_TIM_ConfigClockSource(&htim5, &sClockSourceConfig) != HAL_OK)
  {
    Error_Handler();
  }
  sMasterConfig.MasterOutputTrigger = TIM_TRGO_RESET;
  sMasterConfig.MasterSlaveMode = TIM_MASTERSLAVEMODE_DISABLE;
  if (HAL_TIMEx_MasterConfigSynchronization(&htim5, &sMasterConfig) != HAL_OK)
  {
    Error_Handler();
  }

}

static void MX_USB_OTG_FS_PCD_Init(void)
{

  hpcd_USB_OTG_FS.Instance = USB_OTG_FS;
  hpcd_USB_OTG_FS.Init.dev_endpoints = 6;
  hpcd_USB_OTG_FS.Init.phy_itface = PCD_PHY_EMBEDDED;
  hpcd_USB_OTG_FS.Init.Sof_enable = ENABLE;
  hpcd_USB_OTG_FS.Init.low_power_enable = DISABLE;
  hpcd_USB_OTG_FS.Init.lpm_enable = DISABLE;
  hpcd_USB_OTG_FS.Init.battery_charging_enable = ENABLE;
  hpcd_USB_OTG_FS.Init.use_dedicated_ep1 = DISABLE;
  hpcd_USB_OTG_FS.Init.vbus_sensing_enable = ENABLE;
  if (HAL_PCD_Init(&hpcd_USB_OTG_FS) != HAL_OK)
  {
    Error_Handler();
  }

}

static void MX_DMA_Init(void)
{

  /* DMA controller clock enable */
  __HAL_RCC_DMAMUX1_CLK_ENABLE();
  __HAL_RCC_DMA1_CLK_ENABLE();

  /* DMA interrupt init */
  /* DMA1_Channel1_IRQn interrupt configuration */
  HAL_NVIC_SetPriority(DMA1_Channel1_IRQn, 0, 0);
  HAL_NVIC_EnableIRQ(DMA1_Channel1_IRQn);
  /* DMA1_Channel2_IRQn interrupt configuration */
  HAL_NVIC_SetPriority(DMA1_Channel2_IRQn, 0, 0);
  HAL_NVIC_EnableIRQ(DMA1_Channel2_IRQn);

}

static void MX_GPIO_Init(void)
{
  GPIO_InitTypeDef GPIO_InitStruct = {0};

  /* GPIO Ports Clock Enable */
  __HAL_RCC_GPIOE_CLK_ENABLE();
  __HAL_RCC_GPIOC_CLK_ENABLE();
  __HAL_RCC_GPIOF_CLK_ENABLE();
  __HAL_RCC_GPIOH_CLK_ENABLE();
  __HAL_RCC_GPIOA_CLK_ENABLE();
  __HAL_RCC_GPIOB_CLK_ENABLE();
  __HAL_RCC_GPIOG_CLK_ENABLE();
  HAL_PWREx_EnableVddIO2();

  /*Configure GPIO pin Output Level */
  HAL_GPIO_WritePin(GPIOF, Y_DIR_Pin|E_DIR_Pin|X_STEP_Pin|X_DIR_Pin
                          |STEPPER_MPLX_A_Pin|STEPPER_MPLX_B_Pin|Z_DIR_Pin|XSHUT_Pin, GPIO_PIN_RESET);

  /*Configure GPIO pin Output Level */
  HAL_GPIO_WritePin(Y_STEP_GPIO_Port, Y_STEP_Pin, GPIO_PIN_RESET);

  /*Configure GPIO pin Output Level */
  HAL_GPIO_WritePin(GPIOB, E_STEP_Pin|Z_STEP_Pin|LD3_Pin|LD2_Pin, GPIO_PIN_RESET);

  /*Configure GPIO pin Output Level */
  HAL_GPIO_WritePin(GPIOG, USB_PowerSwitchOn_Pin|SD_CS_Pin|LCD_CS_Pin|LCD_DC_Pin
                          |LCD_RST_Pin, GPIO_PIN_RESET);

  /*Configure GPIO pin : B1_Pin */
  GPIO_InitStruct.Pin = B1_Pin;
  GPIO_InitStruct.Mode = GPIO_MODE_IT_RISING;
  GPIO_InitStruct.Pull = GPIO_NOPULL;
  HAL_GPIO_Init(B1_GPIO_Port, &GPIO_InitStruct);

  /*Configure GPIO pins : STEPPER_ENN_Pin Z_MIN_Pin */
  GPIO_InitStruct.Pin = STEPPER_ENN_Pin|Z_MIN_Pin;
  GPIO_InitStruct.Mode = GPIO_MODE_INPUT;
  GPIO_InitStruct.Pull = GPIO_NOPULL;
  HAL_GPIO_Init(GPIOF, &GPIO_InitStruct);

  /*Configure GPIO pins : Y_DIR_Pin E_DIR_Pin X_STEP_Pin X_DIR_Pin
                           STEPPER_MPLX_A_Pin STEPPER_MPLX_B_Pin Z_DIR_Pin XSHUT_Pin */
  GPIO_InitStruct.Pin = Y_DIR_Pin|E_DIR_Pin|X_STEP_Pin|X_DIR_Pin
                          |STEPPER_MPLX_A_Pin|STEPPER_MPLX_B_Pin|Z_DIR_Pin|XSHUT_Pin;
  GPIO_InitStruct.Mode = GPIO_MODE_OUTPUT_PP;
  GPIO_InitStruct.Pull = GPIO_NOPULL;
  GPIO_InitStruct.Speed = GPIO_SPEED_FREQ_LOW;
  HAL_GPIO_Init(GPIOF, &GPIO_InitStruct);

  /*Configure GPIO pin : Y_STEP_Pin */
  GPIO_InitStruct.Pin = Y_STEP_Pin;
  GPIO_InitStruct.Mode = GPIO_MODE_OUTPUT_PP;
  GPIO_InitStruct.Pull = GPIO_NOPULL;
  GPIO_InitStruct.Speed = GPIO_SPEED_FREQ_LOW;
  HAL_GPIO_Init(Y_STEP_GPIO_Port, &GPIO_InitStruct);

  /*Configure GPIO pins : E_STEP_Pin Z_STEP_Pin LD3_Pin LD2_Pin */
  GPIO_InitStruct.Pin = E_STEP_Pin|Z_STEP_Pin|LD3_Pin|LD2_Pin;
  GPIO_InitStruct.Mode = GPIO_MODE_OUTPUT_PP;
  GPIO_InitStruct.Pull = GPIO_NOPULL;
  GPIO_InitStruct.Speed = GPIO_SPEED_FREQ_LOW;
  HAL_GPIO_Init(GPIOB, &GPIO_InitStruct);

  /*Configure GPIO pin : USB_OverCurrent_Pin */
  GPIO_InitStruct.Pin = USB_OverCurrent_Pin;
  GPIO_InitStruct.Mode = GPIO_MODE_INPUT;
  GPIO_InitStruct.Pull = GPIO_NOPULL;
  HAL_GPIO_Init(USB_OverCurrent_GPIO_Port, &GPIO_InitStruct);

  /*Configure GPIO pins : USB_PowerSwitchOn_Pin SD_CS_Pin */
  GPIO_InitStruct.Pin = USB_PowerSwitchOn_Pin|SD_CS_Pin;
  GPIO_InitStruct.Mode = GPIO_MODE_OUTPUT_PP;
  GPIO_InitStruct.Pull = GPIO_NOPULL;
  GPIO_InitStruct.Speed = GPIO_SPEED_FREQ_LOW;
  HAL_GPIO_Init(GPIOG, &GPIO_InitStruct);

  /*Configure GPIO pins : LCD_CS_Pin LCD_DC_Pin LCD_RST_Pin */
  GPIO_InitStruct.Pin = LCD_CS_Pin|LCD_DC_Pin|LCD_RST_Pin;
  GPIO_InitStruct.Mode = GPIO_MODE_OUTPUT_PP;
  GPIO_InitStruct.Pull = GPIO_NOPULL;
  GPIO_InitStruct.Speed = GPIO_SPEED_FREQ_VERY_HIGH;
  HAL_GPIO_Init(GPIOG, &GPIO_InitStruct);

}

void Error_Handler(void)
{
  __disable_irq();
  while (1)
  {
  }
}
